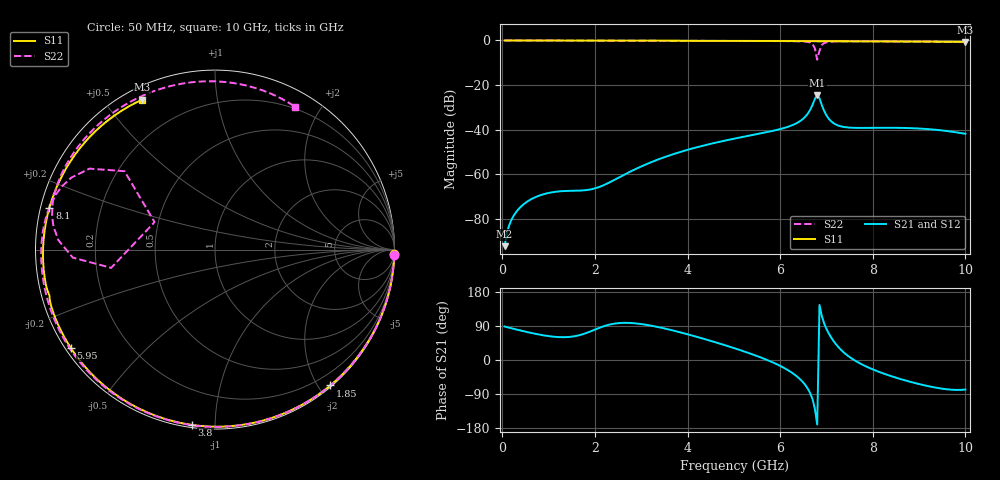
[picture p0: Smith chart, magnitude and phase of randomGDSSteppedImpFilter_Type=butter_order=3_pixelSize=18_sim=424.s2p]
! freq	dB(S11)	phase(S11)	dB(S12)	phase(S12)
!  dB(S21)	phase(S21)	dB(S22)	phase(S22)
!S-par simulation data
#  GHz  S  DB  R 50
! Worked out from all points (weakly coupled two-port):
!   200 points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, 50 MHz to 10 GHz, reference 50 ohm
!   highest |S21| = -24.44 dB at 6.8 GHz (marker M1); lowest = -92.4 dB at 50 MHz (marker M2)
!   lowest |S11| = -0.6 dB at 10 GHz (marker M3), VSWR 27.15, Z = 2.56 + j31.2 ohm
!   |S11| at or under -10 dB: nowhere
!   |S22| runs from -8.6 to 0.0 dB; largest |S21 - S12| = 0
!   S11 on the Smith chart (normalised r, x): 50 MHz: 2, -82; 1.85 GHz: 0.02, -2.16; 3.8 GHz: 0.01, -0.88; 5.95 GHz: 0.02, -0.31; 8.1 GHz: 0.03, +0.12; 10 GHz: 0.05, +0.62
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0.05  -0.01 -1.4  -92.38 88.3  -92.38 88.3  -0.00 -1.8
0.2  -0.01 -5.5  -80.44 83.7  -80.44 83.7  -0.01 -7.2
0.45  -0.01 -12.4  -73.73 76.2  -73.73 76.2  -0.02 -16.2
0.8  -0.03 -21.9  -69.65 67.0  -69.65 67.0  -0.03 -28.6
1.75  -0.06 -47.1  -67.33 68.5  -67.33 68.5  -0.07 -60.9
1.85  -0.06 -49.7  -67.10 72.8  -67.10 72.8  -0.08 -64.1
3.4  -0.11 -88.1  -53.17 86.0  -53.17 86.0  -0.13 -110.5
3.8  -0.13 -97.5  -50.35 74.3  -50.35 74.3  -0.15 -121.5
5.05  -0.19 -125.8  -43.92 29.6  -43.92 29.6  -0.21 -153.9
5.95  -0.24 -145.6  -40.06 -12.5  -40.06 -12.5  -0.27 -177.4
6.45  -0.28 -156.6  -35.93 -53.1  -35.93 -53.1  -0.41 166.2
6.7  -0.32 -162.3  -28.89 -103.8  -28.89 -103.8  -1.60 147.2
6.75  -0.35 -163.4  -26.23 -129.0  -26.23 -129.0  -3.52 139.1
6.8  -0.38 -164.4  -24.44 -170.1  -24.44 -170.1  -8.64 155.5
6.85  -0.37 -165.2  -26.00 145.2  -26.00 145.2  -4.62 -170.0
6.9  -0.35 -166.3  -29.05 115.8  -29.05 115.8  -2.00 -176.8
7  -0.34 -168.6  -33.67 82.0  -33.67 82.0  -0.82 171.8
7.3  -0.35 -175.5  -38.51 28.5  -38.51 28.5  -0.44 156.9
8.1  -0.43 165.8  -39.22 -29.7  -39.22 -29.7  -0.43 132.0
8.35  -0.46 159.7  -39.20 -40.7  -39.20 -40.7  -0.44 124.5
9.3  -0.56 135.4  -39.99 -71.6  -39.99 -71.6  -0.55 92.4
10  -0.64 115.9  -41.90 -77.9  -41.90 -77.9  -0.80 60.7
